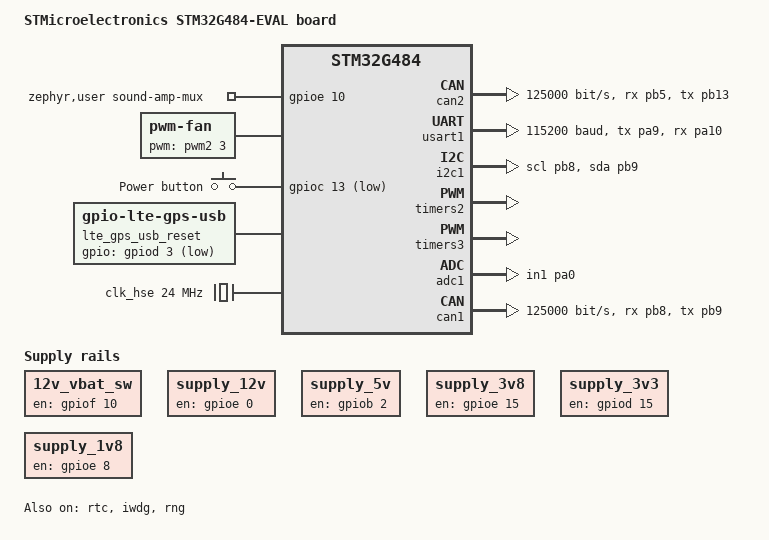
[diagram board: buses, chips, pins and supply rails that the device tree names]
/*
 * Copyright (c) 2019 STMicroelectronics.
 *
 * SPDX-License-Identifier: Apache-2.0
 */

/dts-v1/;
#include <st/g4/stm32g484Xe.dtsi>
#include <st/g4/stm32g484qetx-pinctrl.dtsi>

/ {
	model = "STMicroelectronics STM32G484-EVAL board";
	compatible = "st,stm32g484-eval";

	chosen
	{
		zephyr,console = &usart1;
		zephyr,shell-uart = &usart1;
		zephyr,sram = &sram0;
		zephyr,flash = &flash0;
                zephyr,canbus = &can2;
	};

    zephyr,user {
        // This is a mux for who controls the audio amp
        // 1 == MCU
        // 0 == Jetson
        sound-amp-mux-gpios = <&gpioe 10 GPIO_ACTIVE_HIGH>;
    };

	vbat_sw
	{
		compatible = "regulator-fixed-sync", "regulator-fixed";
		label = "12V VBAT SW";
		regulator-name = "12v_vbat_sw";
		enable-gpios = <&gpiof 10 GPIO_ACTIVE_HIGH>;

		// This is attached to a MOSFET to allow the battery
		// power to be sent to the inputs of:
		// * 12v supply
		// * 5v supply
		// * Supercap charger
		//
		// As such, it has no power good pin
	};

	supply_12v
	{
		compatible = "regulator-fixed-sync", "regulator-fixed";
		label = "12V Supply";
		regulator-name = "supply_12v";
		enable-gpios = <&gpioe 0 GPIO_ACTIVE_HIGH>;

		// Has no power good pin
	};

	supply_5v
	{
		compatible = "regulator-fixed-sync", "regulator-fixed";
		label = "5V Supply";
		regulator-name = "supply_5v";
		enable-gpios = <&gpiob 2 GPIO_ACTIVE_HIGH>;

		power_good
		{
			compatible = "gpio-power-good";
			gpios = <&gpiob 1 GPIO_PULL_UP>;
		};
	};

    supply_3v8 {
        compatible = "regulator-fixed-sync", "regulator-fixed";
        label = "3.8V Supply";
        regulator-name = "supply_3v8";
        enable-gpios = <&gpioe 15 GPIO_ACTIVE_HIGH>;
    };

	supply_3v3
	{
		compatible = "regulator-fixed-sync", "regulator-fixed";
		label = "3.3V Supply";
		regulator-name = "supply_3v3";
		enable-gpios = <&gpiod 15 GPIO_ACTIVE_HIGH>;

		power_good
		{
			compatible = "gpio-power-good";
			gpios = <&gpioa 12 GPIO_PULL_UP>;
		};
	};

    supply_1v8 {
        compatible = "regulator-fixed-sync", "regulator-fixed";
        label = "1.8V Supply";
        regulator-name = "supply_1v8";
        enable-gpios = <&gpioe 8 GPIO_ACTIVE_HIGH>;

        power_good {
            compatible = "gpio-power-good";
            gpios = <&gpioe 7 GPIO_PULL_UP>;
        };
    };

	fan
	{
		compatible = "pwm-fan";
		pwms = <&pwm2 3 10000 PWM_POLARITY_NORMAL>;

    // Currently no tachometer reading, only a 2-wire fan
    };

	buttons
	{
		compatible = "gpio-keys";

		power_button
		{
			gpios = <&gpioc 13 GPIO_ACTIVE_LOW>;
			label = "Power button";
		};
	};

    jetson_power_pins {
        compatible = "gpio-jetson-power";
        shutdown_request {
            gpios = <&gpioe 14 GPIO_ACTIVE_LOW>;

            // input
            // Jetson module uses this to request a shutdown sequence
        };

        power_enable {
            gpios = <&gpioe 12 (GPIO_ACTIVE_LOW | GPIO_OPEN_DRAIN)>;

            // output
            // this signals the Jetson module to turn on an off
        };

        system_reset {
            gpios = <&gpioe 11 GPIO_ACTIVE_LOW>;

            // bidirectional
            // drive low to reset
            // driven by Jetson to indicate power sequence is complete
        };

        module_sleep {
            gpios = <&gpiof 2 GPIO_ACTIVE_LOW>;

            // input
            // when driven low indicates that the module has gone to sleep
        };

        sleep_wake {
            gpios = <&gpioe 9 GPIO_ACTIVE_HIGH>;

            // output
            // drive high to indicate that the Jetson should enter sleep mode
        };
    };

    lte_gps_usb_reset {
        compatible = "gpio-lte-gps-usb";
        gpios = <&gpiod 3 GPIO_ACTIVE_LOW>;
    };

	soc
	{
		can
		{
		can2:
			can@40006800
			{
				compatible = "st,stm32-fdcan";
				#address-cells = <1>;
				#size-cells = <0>;
				reg = <0x40006800 0x400>, <0x4000A750 0x350>;
				reg-names = "m_can", "message_ram";
				interrupts = <86 0>, <87 0>;
				interrupt-names = "LINE_0", "LINE_1";
				status = "disabled";
				label = "CAN_2";
			};

		can3:
			can@40006C00
			{
				compatible = "st,stm32-fdcan";
				#address-cells = <1>;
				#size-cells = <0>;
				reg = <0x40006C00 0x400>, <0x4000AAA0 0x350>;
				reg-names = "m_can", "message_ram";
				interrupts = <88 0>, <89 0>;
				interrupt-names = "LINE_0", "LINE_1";
				status = "disabled";
				label = "CAN_3";
			};
		};
	};
};

&clk_hse
{
	clock-frequency = <DT_FREQ_M(24)>;
	status = "okay";
};

&pll
{
    div-m = <6>;
    mul-n = <85>;
    div-p = <7>;
    div-q = <2>;
    div-r = <2>;
	clocks = <&clk_hse>;
	status = "okay";
};

&rcc
{
	clocks = <&pll>;
	clock-frequency = <DT_FREQ_M(170)>;
	ahb-prescaler = <1>;
	apb1-prescaler = <1>;
	apb2-prescaler = <1>;
};

&usart1
{
	// Connected on Virtual COM port (STLINK)
	pinctrl-0 = <&usart1_tx_pa9 &usart1_rx_pa10>;
	current-speed = <115200>;
	status = "okay";
};

&i2c1 {
	pinctrl-0 = <&i2c1_scl_pb8 &i2c1_sda_pb9>;
	status = "okay";
};

&timers2
{
	status = "okay";

pwm2:
	pwm
	{
		status = "okay";
		pinctrl-0 = <&tim2_ch3_pb10>;
	};
};

&timers3
{
	status = "okay";
pwm3:
	pwm
	{
		status = "okay";
		st,prescaler = <10000>;
		pinctrl-0 = <&tim3_ch1_pb4>;
	};
};

&rtc
{
	status = "okay";
};

&flash0 {
	/*
	 * For more information, see:
	 * http://docs.zephyrproject.org/latest/guides/dts/index.html#flash-partitions
	 */
	partitions {
		compatible = "fixed-partitions";
		#address-cells = <1>;
		#size-cells = <1>;

		/* 48KiB for bootloader */
        boot_partition: partition@0 {
            label = "mcuboot";
            reg = <0x00000000 0x0000C000>;
            read-only;
        };

		/* 224KiB per slot */
		slot0_partition: partition@C000 {
            label = "image-0";
            reg = <0x0000C000 0x00038000>;
        };
        slot1_partition: partition@44000 {
            label = "image-1";
            reg = <0x00044000 0x00038000>;
        };

		/* 8KiB scratch */
        scratch_partition: partition@7C000 {
            label = "image-scratch";
            reg = <0x0007C000 0x00002000>;
        };

        /* final 8KiB reserved for app storage partition */
        storage_partition: partition@7E000 {
            label = "storage";
            reg = <0x0007E000 0x00002000>;
        };
	};
};

&iwdg
{
	status = "okay";
};

&rng
{
	status = "okay";
};

&adc1
{
	pinctrl-0 = <&adc1_in1_pa0>;
	status = "okay";
};

&can1 {
	pinctrl-0 = <&fdcan1_rx_pb8 &fdcan1_tx_pb9>;
	bus-speed = <125000>;
	sjw = <1>;
	sample-point = <875>;
	bus-speed-data = <1000000>;
	sjw-data = <1>;
	sample-point-data = <875>;
	status = "okay";
};

&can2
{
	pinctrl-0 = <&fdcan2_rx_pb5 &fdcan2_tx_pb13>;
	bus-speed = <125000>;
	sjw = <1>;
	sample-point = <875>;
	bus-speed-data = <1000000>;
	sjw-data = <1>;
	sample-point-data = <875>;
	status = "okay";
};
